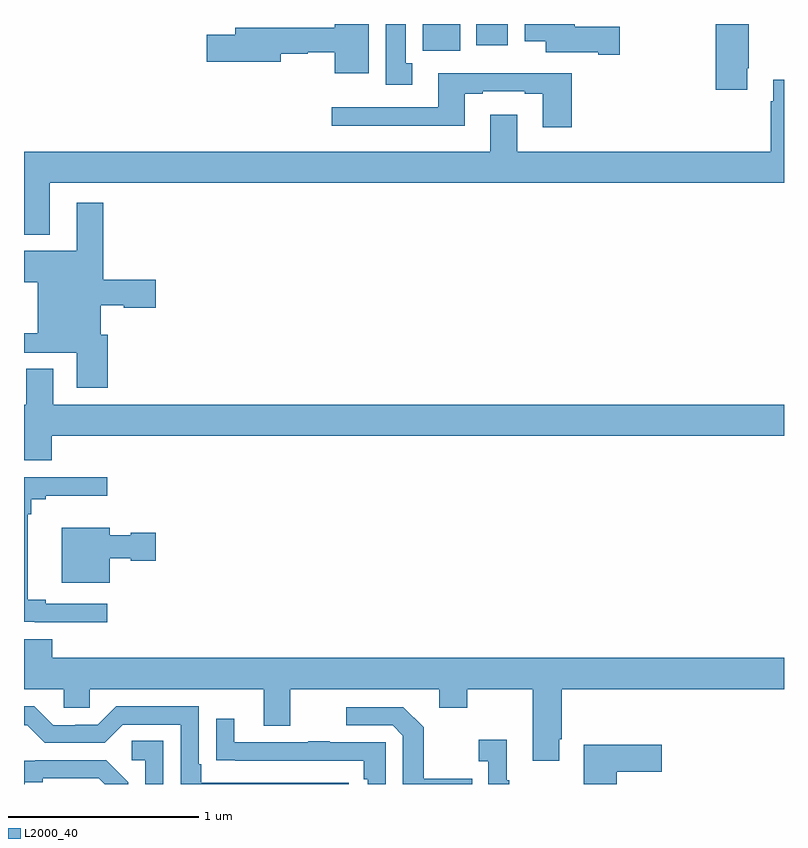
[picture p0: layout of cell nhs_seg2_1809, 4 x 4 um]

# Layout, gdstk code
import gdstk
lib = gdstk.Library(unit=1e-6, precision=1e-09)
def R(c, l, rs):  # rectangles x0, y0, x1, y1
    for r in rs: c.add(gdstk.rectangle(r[:2], r[2:], *l))
def P(c, l, *ps):  # polygons
    for p in ps: c.add(gdstk.Polygon(p, *l))
L2000_40 = (2000, 40)

nhs_seg2_1809 = lib.new_cell('nhs_seg2_1809')
R(nhs_seg2_1809, L2000_40, [(207.098,653.66,207.295,653.8), (207.38,653.688,207.547,653.8)])
P(nhs_seg2_1809, L2000_40, [(208.807,653.566),(208.815,653.566),(208.815,653.8),(208.64,653.8),(208.64,653.454),(208.807,653.454)],
  [(208.135,653.786),(207.899,653.786),(207.899,653.8),(207.635,653.8),(207.635,653.708),(207.746,653.708),(207.746,653.651),(208.022,653.651),(208.022,653.639),(208.135,653.639)],
  [(207.043,653.594),(207.01,653.594),(207.01,653.8),(206.903,653.8),(206.903,653.481),(207.043,653.481)],
  [(206.815,653.8),(206.636,653.8),(206.636,653.78),(206.111,653.78),(206.111,653.744),(205.962,653.744),(205.962,653.602),(206.35,653.602),(206.35,653.644),(206.493,653.644),(206.493,653.652),(206.636,653.652),(206.636,653.54),(206.815,653.54)],
  [(207.884,653.542),(207.179,653.542),(207.179,653.361),(206.619,653.361),(206.619,653.264),(207.319,653.264),(207.319,653.433),(207.415,653.433),(207.415,653.445),(207.635,653.445),(207.635,653.433),(207.731,653.433),(207.731,653.256),(207.884,653.256)],
  [(205.135,652.964),(209,652.964),(209,653.506),(208.943,653.506),(208.943,653.393),(208.931,653.393),(208.931,653.128),(207.595,653.128),(207.595,653.323),(207.455,653.323),(207.455,653.128),(205,653.128),(205,652.691),(205.135,652.691)],
  [(205.442,652.164),(205.405,652.164),(205.405,652.319),(205.525,652.319),(205.525,652.307),(205.693,652.307),(205.693,652.454),(205.418,652.454),(205.418,652.858),(205.277,652.858),(205.277,652.606),(205,652.606),(205,652.442),(205.073,652.442),(205.073,652.172),(205,652.172),(205,652.071),(205.277,652.071),(205.277,651.885),(205.442,651.885)],
  [(205.147,651.632),(209,651.632),(209,651.796),(205.153,651.796),(205.153,651.986),(205.013,651.986),(205.013,651.796),(205,651.796),(205,651.504),(205.147,651.504)],
  [(205.438,650.748),(205.114,650.748),(205.114,650.771),(205.019,650.771),(205.019,651.221),(205.037,651.221),(205.037,651.298),(205.114,651.298),(205.114,651.317),(205.438,651.317),(205.438,651.414),(205,651.414),(205,650.655),(205.057,650.655),(205.057,650.651),(205.438,650.651)],
  [(205.45,650.987),(205.563,650.987),(205.563,650.975),(205.693,650.975),(205.693,651.122),(205.563,651.122),(205.563,651.109),(205.45,651.109),(205.45,651.148),(205.199,651.148),(205.199,650.858),(205.45,650.858)],
  [(207.817,650.035),(207.83,650.035),(207.83,650.3),(209,650.3),(209,650.464),(205.148,650.464),(205.148,650.562),(205,650.562),(205,650.3),(205.209,650.3),(205.209,650.202),(205.347,650.202),(205.347,650.3),(206.261,650.3),(206.261,650.106),(206.401,650.106),(206.401,650.3),(207.185,650.3),(207.185,650.201),(207.333,650.201),(207.333,650.3),(207.677,650.3),(207.677,649.923),(207.817,649.923)],
  [(206.71,649.806),(205.933,649.806),(205.933,649.903),(205.92,649.903),(205.92,650.208),(205.485,650.208),(205.389,650.112),(205.271,650.112),(205.271,650.109),(205.155,650.109),(205.055,650.209),(205,650.209),(205,650.109),(205.017,650.109),(205.11,650.016),(205.425,650.016),(205.521,650.112),(205.824,650.112),(205.824,649.8),(206.71,649.8)],
  [(207.359,649.827),(207.103,649.827),(207.103,650.099),(206.997,650.205),(206.697,650.205),(206.697,650.109),(206.94,650.109),(206.994,650.055),(206.994,649.8),(207.359,649.8)],
  [(206.904,650.019),(206.609,650.019),(206.609,650.024),(206.497,650.024),(206.497,650.019),(206.107,650.019),(206.107,650.143),(206.011,650.143),(206.011,649.924),(206.113,649.924),(206.113,649.923),(206.788,649.923),(206.788,649.826),(206.808,649.826),(206.808,649.8),(206.904,649.8)],
  [(207.553,649.819),(207.541,649.819),(207.541,650.032),(207.393,650.032),(207.393,649.919),(207.444,649.919),(207.444,649.8),(207.553,649.8)],
  [(205.734,650.027),(205.566,650.027),(205.566,649.926),(205.638,649.926),(205.638,649.8),(205.734,649.8)],
  [(208.121,649.865),(208.357,649.865),(208.357,650.007),(207.946,650.007),(207.946,649.8),(208.121,649.8)],
  [(205.003,649.808),(205.099,649.808),(205.099,649.83),(205.394,649.83),(205.424,649.8),(205.548,649.8),(205.548,649.81),(205.432,649.926),(205.06,649.926),(205.06,649.923),(205,649.923),(205,649.8),(205.003,649.8)])

lib.write_gds('nhs_seg2_1809.gds')
